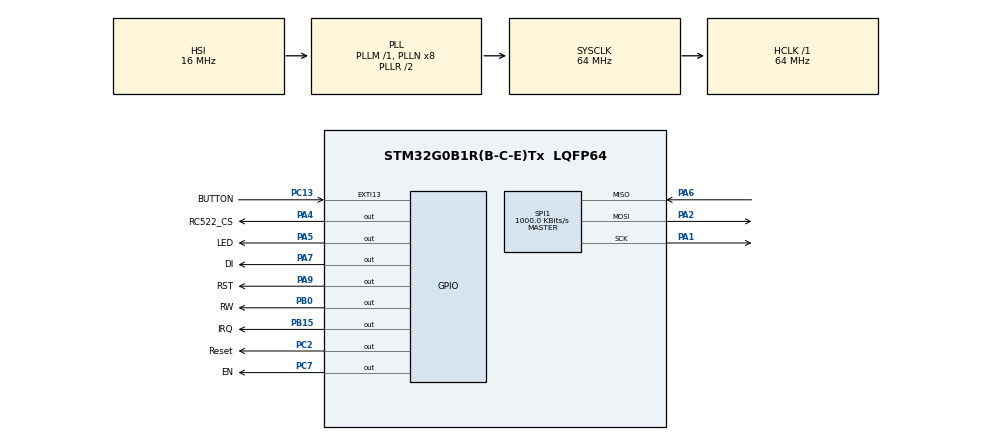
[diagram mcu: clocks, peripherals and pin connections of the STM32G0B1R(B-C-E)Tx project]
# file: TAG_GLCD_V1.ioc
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Mcu.Family=STM32G0
Mcu.Name=STM32G0B1R(B-C-E)Tx
Mcu.Package=LQFP64
NVIC.EXTI4_15_IRQn=true\:0\:0\:false\:false\:true\:true\:true
PA1.Mode=Full_Duplex_Master
PA1.Signal=SPI1_SCK
PA13.Mode=Serial_Wire
PA13.Signal=SYS_SWDIO
PA14-BOOT0.Mode=Serial_Wire
PA14-BOOT0.Signal=SYS_SWCLK
PA2.Mode=Full_Duplex_Master
PA2.Signal=SPI1_MOSI
PA4.GPIO_Label=RC522_CS
PA4.Signal=GPIO_Output
PA5.GPIO_Label=LED
PA5.Signal=GPIO_Output
PA6.Mode=Full_Duplex_Master
PA6.Signal=SPI1_MISO
PA7.GPIO_Label=DI
PA7.Signal=GPIO_Output
PA9.GPIO_Label=RST
PA9.Signal=GPIO_Output
PB0.GPIO_Label=RW
PB0.Signal=GPIO_Output
PB15.GPIO_Label=IRQ
PB15.Signal=GPIO_Output
PC13.GPIO_Label=BUTTON
PC13.GPIO_ModeDefaultEXTI=GPIO_MODE_IT_RISING_FALLING
PC13.Signal=GPXTI13
PC2.GPIO_Label=Reset
PC2.Signal=GPIO_Output
PC7.GPIO_Label=EN
PC7.Signal=GPIO_Output
PF0-OSC_IN\ (PF0).Mode=HSE-External-Oscillator
PF0-OSC_IN\ (PF0).Signal=RCC_OSC_IN
PF1-OSC_OUT\ (PF1).Mode=HSE-External-Oscillator
PF1-OSC_OUT\ (PF1).Signal=RCC_OSC_OUT
ProjectManager.HeapSize=0x200
ProjectManager.StackSize=0x400
ProjectManager.TargetToolchain=STM32CubeIDE
RCC.ADCFreq_Value=64000000
RCC.AHBFreq_Value=64000000
RCC.CortexFreq_Value=64000000
RCC.EXTERNAL_CLOCK_VALUE=48000
RCC.HCLKFreq_Value=64000000
RCC.HSE_VALUE=8000000
RCC.HSI48_VALUE=48000000
RCC.HSI_VALUE=16000000
RCC.LSE_VALUE=32768
RCC.SYSCLKFreq_VALUE=64000000
RCC.SYSCLKSource=RCC_SYSCLKSOURCE_PLLCLK
RCC.USBFreq_Value=48000000
RCC.VCOOutputFreq_Value=128000000
SPI1.BaudRatePrescaler=SPI_BAUDRATEPRESCALER_64
SPI1.CalculateBaudRate=1000.0 KBits/s
SPI1.Direction=SPI_DIRECTION_2LINES
SPI1.Mode=SPI_MODE_MASTER
SPI1.VirtualType=VM_MASTER
TIM1.Period=0xffff-1
TIM1.Prescaler=64-1
VP_SYS_VS_DBSignals.Mode=DisableDeadBatterySignals
VP_TIM1_VS_ClockSourceINT.Mode=Internal
board=custom

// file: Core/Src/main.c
/* USER CODE BEGIN Header */
/**
  ******************************************************************************
  * @file           : main.c
  * @brief          : Main program body
  ******************************************************************************
  * @attention
  *
  * Copyright (c) 2022 STMicroelectronics.
  * All rights reserved.
  *
  * This software is licensed under terms that can be found in the LICENSE file
  * in the root directory of this software component.
  * If no LICENSE file comes with this software, it is provided AS-IS.
  *
  ******************************************************************************
  */
/* USER CODE END Header */
#include "main.h"

/* USER CODE BEGIN Includes */
#include "ST7920_SERIAL.h"
#include "delay.h"
#include "bitmap.h"
#include "MFRC522.h"
#include "string.h"
/* USER CODE END Includes */

/* USER CODE BEGIN PD */
#define END_INICIAL 0x08006000 // Pag. 18 | Max (pag 63): 0x08018C00
/* USER CODE END PD */

SPI_HandleTypeDef hspi1;

TIM_HandleTypeDef htim1;

void SystemClock_Config(void);
static void MX_GPIO_Init(void);
static void MX_SPI1_Init(void);
static void MX_TIM1_Init(void);

/* USER CODE BEGIN 0 */
uint8_t status =144;
uint8_t str[5];
uint8_t cardstr[3];
uint8_t login[10][5];
uint8_t flagCadrst=0, qntsUser=0, flagGraph=0, ValorLeitura=0;

//Compara um vetor com a database de TAGS
uint8_t comparaTag(uint8_t *comp){
	uint8_t i = 0;

	for (uint8_t x = 0; x < 10; ++x) {
		while(comp[i] == login[x][i] && i < 5) {i++;}
	}
	if(i == 5){return 1;}
	return 0;
}

//Le a tag
void leTag(){
	  status = MFRC522_Request(PICC_REQIDL, cardstr);
	  if( status == 0){
		  status = MFRC522_Anticoll(str);
	  }
}

//Limpa a tag recebida
void limpaTag(uint8_t *a){
	for(int i=0; i < 5; i++){a[i] = 0x0;}
}

//Verifica o GraphicMode do GLCD
void verificaGMode(uint8_t mode){
	// GMODE 0
	if(mode == 0 && flagGraph == 1){
		flagGraph = 0;
		ST7920_Clear();
		ST7920_GraphicMode(0);
	}
	else if(mode == 0 && flagGraph == 0){
		flagGraph = 0;
		ST7920_Clear();
	}

	// GMODE 1
	else if(mode == 1 && flagGraph == 0){
		flagGraph = 1;
		ST7920_Clear();
		ST7920_GraphicMode(1);
	}
	else if(mode == 1 && flagGraph == 1){
		flagGraph = 1;
		return;
	}
}

void piscar(){
	ST7920_DrawBitmap(kawaideado_i);
}
void love(){
	ST7920_DrawBitmap(kawaideado_m_0);
	ST7920_DrawBitmap(kawaideado_m_1);
	ST7920_DrawBitmap(kawaideado_m_2);
	ST7920_DrawBitmap(kawaideado_m_3);
	ST7920_DrawBitmap(kawaideado_m_4);
}
void HAL_GPIO_EXTI_Falling_Callback(uint16_t GPIO_Pin){
	switch(flagCadrst){
	case 0:
		flagCadrst = 1;
		break;

	case 1:
		flagCadrst = 0;
		break;
	}
}

/* USER CODE END 0 */

int main(void)
{

  /* MCU Configuration--------------------------------------------------------*/

  /* Reset of all peripherals, Initializes the Flash interface and the Systick. */
  HAL_Init();

  /* Configure the system clock */
  SystemClock_Config();

  /* Initialize all configured peripherals */
  MX_GPIO_Init();
  MX_SPI1_Init();
  MX_TIM1_Init();
  /* USER CODE BEGIN 2 */
  //inicia
  delay_init();
  ST7920_Init();
  MFRC522_Init();

  ST7920_GraphicMode(1);

  ST7920_DrawBitmap(foto_mosfet);
  HAL_Delay(1000);
  status = Read_MFRC522(VersionReg);

  for (uint8_t x = 0; x < 10; ++x) {
	  for (uint8_t y = 0; y < 5; ++y) {
		  login[x][y] = 0xFF;
	  }
  }

  /* USER CODE END 2 */

  /* Infinite loop */
  /* USER CODE BEGIN WHILE */
  while (1)
  {
	  //importante
	  leTag();

	  //Ativa o modo cadastro
	  if(flagCadrst == 1){
		  verificaGMode(0);

		  //Enquanto o modo cadastro estiver ativado
		  while(flagCadrst == 1){
			  leTag();
			  ST7920_SendString(1, 2, "Cadastro!");
			  ST7920_SendString(2, 0, "Aproxime a TAG");

			  //Verifica se está lendo alguma coisa
			  if(str[0] != 0x00){
				  if(comparaTag(str) == 1){
					  verificaGMode(0);
					  ST7920_SendString(1, 2, "ERRO!");
					  ST7920_SendString(2, 0, "TAG CADASTRADA");
					  HAL_Delay(500);
				  }
				  else if(comparaTag(str) == 0){
					  for (uint8_t j = 0; j < 5; ++j) {
						  login[qntsUser][j] = str[j];
					  }
					  qntsUser++;

					  verificaGMode(1);
					  love();
					  flagCadrst = 0;
				  }
			  limpaTag(str);
			  }
		  }
	  }else {
		  verificaGMode(1);

		  while(flagCadrst == 0){
			  leTag();

			  if(str[0] != 0x00){
				  if(comparaTag(str) == 1){
					  piscar();
				  }
				  limpaTag(str);
			  }

			  ST7920_DrawBitmap(kawaideado_c);
		  }
	  }
    /* USER CODE END WHILE */

  }
}

void SystemClock_Config(void)
{
  RCC_OscInitTypeDef RCC_OscInitStruct = {0};
  RCC_ClkInitTypeDef RCC_ClkInitStruct = {0};

  /** Configure the main internal regulator output voltage
  */
  HAL_PWREx_ControlVoltageScaling(PWR_REGULATOR_VOLTAGE_SCALE1);
  /** Initializes the RCC Oscillators according to the specified parameters
  * in the RCC_OscInitTypeDef structure.
  */
  RCC_OscInitStruct.OscillatorType = RCC_OSCILLATORTYPE_HSI;
  RCC_OscInitStruct.HSIState = RCC_HSI_ON;
  RCC_OscInitStruct.HSIDiv = RCC_HSI_DIV1;
  RCC_OscInitStruct.HSICalibrationValue = RCC_HSICALIBRATION_DEFAULT;
  RCC_OscInitStruct.PLL.PLLState = RCC_PLL_ON;
  RCC_OscInitStruct.PLL.PLLSource = RCC_PLLSOURCE_HSI;
  RCC_OscInitStruct.PLL.PLLM = RCC_PLLM_DIV1;
  RCC_OscInitStruct.PLL.PLLN = 8;
  RCC_OscInitStruct.PLL.PLLP = RCC_PLLP_DIV2;
  RCC_OscInitStruct.PLL.PLLQ = RCC_PLLQ_DIV2;
  RCC_OscInitStruct.PLL.PLLR = RCC_PLLR_DIV2;
  if (HAL_RCC_OscConfig(&RCC_OscInitStruct) != HAL_OK)
  {
    Error_Handler();
  }
  /** Initializes the CPU, AHB and APB buses clocks
  */
  RCC_ClkInitStruct.ClockType = RCC_CLOCKTYPE_HCLK|RCC_CLOCKTYPE_SYSCLK
                              |RCC_CLOCKTYPE_PCLK1;
  RCC_ClkInitStruct.SYSCLKSource = RCC_SYSCLKSOURCE_PLLCLK;
  RCC_ClkInitStruct.AHBCLKDivider = RCC_SYSCLK_DIV1;
  RCC_ClkInitStruct.APB1CLKDivider = RCC_HCLK_DIV1;

  if (HAL_RCC_ClockConfig(&RCC_ClkInitStruct, FLASH_LATENCY_2) != HAL_OK)
  {
    Error_Handler();
  }
}

static void MX_SPI1_Init(void)
{

  /* SPI1 parameter configuration*/
  hspi1.Instance = SPI1;
  hspi1.Init.Mode = SPI_MODE_MASTER;
  hspi1.Init.Direction = SPI_DIRECTION_2LINES;
  hspi1.Init.DataSize = SPI_DATASIZE_8BIT;
  hspi1.Init.CLKPolarity = SPI_POLARITY_LOW;
  hspi1.Init.CLKPhase = SPI_PHASE_1EDGE;
  hspi1.Init.NSS = SPI_NSS_SOFT;
  hspi1.Init.BaudRatePrescaler = SPI_BAUDRATEPRESCALER_64;
  hspi1.Init.FirstBit = SPI_FIRSTBIT_MSB;
  hspi1.Init.TIMode = SPI_TIMODE_DISABLE;
  hspi1.Init.CRCCalculation = SPI_CRCCALCULATION_DISABLE;
  hspi1.Init.CRCPolynomial = 7;
  hspi1.Init.CRCLength = SPI_CRC_LENGTH_DATASIZE;
  hspi1.Init.NSSPMode = SPI_NSS_PULSE_ENABLE;
  if (HAL_SPI_Init(&hspi1) != HAL_OK)
  {
    Error_Handler();
  }

}

static void MX_TIM1_Init(void)
{

  TIM_ClockConfigTypeDef sClockSourceConfig = {0};
  TIM_MasterConfigTypeDef sMasterConfig = {0};

  htim1.Instance = TIM1;
  htim1.Init.Prescaler = 64-1;
  htim1.Init.CounterMode = TIM_COUNTERMODE_UP;
  htim1.Init.Period = 0xffff-1;
  htim1.Init.ClockDivision = TIM_CLOCKDIVISION_DIV1;
  htim1.Init.RepetitionCounter = 0;
  htim1.Init.AutoReloadPreload = TIM_AUTORELOAD_PRELOAD_DISABLE;
  if (HAL_TIM_Base_Init(&htim1) != HAL_OK)
  {
    Error_Handler();
  }
  sClockSourceConfig.ClockSource = TIM_CLOCKSOURCE_INTERNAL;
  if (HAL_TIM_ConfigClockSource(&htim1, &sClockSourceConfig) != HAL_OK)
  {
    Error_Handler();
  }
  sMasterConfig.MasterOutputTrigger = TIM_TRGO_RESET;
  sMasterConfig.MasterOutputTrigger2 = TIM_TRGO2_RESET;
  sMasterConfig.MasterSlaveMode = TIM_MASTERSLAVEMODE_DISABLE;
  if (HAL_TIMEx_MasterConfigSynchronization(&htim1, &sMasterConfig) != HAL_OK)
  {
    Error_Handler();
  }

}

static void MX_GPIO_Init(void)
{
  GPIO_InitTypeDef GPIO_InitStruct = {0};

  /* GPIO Ports Clock Enable */
  __HAL_RCC_GPIOC_CLK_ENABLE();
  __HAL_RCC_GPIOF_CLK_ENABLE();
  __HAL_RCC_GPIOA_CLK_ENABLE();
  __HAL_RCC_GPIOB_CLK_ENABLE();

  /*Configure GPIO pin Output Level */
  HAL_GPIO_WritePin(GPIOC, Reset_Pin|EN_Pin, GPIO_PIN_RESET);

  /*Configure GPIO pin Output Level */
  HAL_GPIO_WritePin(GPIOA, RC522_CS_Pin|LED_Pin|DI_Pin|RST_Pin, GPIO_PIN_RESET);

  /*Configure GPIO pin Output Level */
  HAL_GPIO_WritePin(GPIOB, RW_Pin|IRQ_Pin, GPIO_PIN_RESET);

  /*Configure GPIO pin : BUTTON_Pin */
  GPIO_InitStruct.Pin = BUTTON_Pin;
  GPIO_InitStruct.Mode = GPIO_MODE_IT_RISING_FALLING;
  GPIO_InitStruct.Pull = GPIO_NOPULL;
  HAL_GPIO_Init(BUTTON_GPIO_Port, &GPIO_InitStruct);

  /*Configure GPIO pins : Reset_Pin EN_Pin */
  GPIO_InitStruct.Pin = Reset_Pin|EN_Pin;
  GPIO_InitStruct.Mode = GPIO_MODE_OUTPUT_PP;
  GPIO_InitStruct.Pull = GPIO_NOPULL;
  GPIO_InitStruct.Speed = GPIO_SPEED_FREQ_LOW;
  HAL_GPIO_Init(GPIOC, &GPIO_InitStruct);

  /*Configure GPIO pins : RC522_CS_Pin LED_Pin DI_Pin RST_Pin */
  GPIO_InitStruct.Pin = RC522_CS_Pin|LED_Pin|DI_Pin|RST_Pin;
  GPIO_InitStruct.Mode = GPIO_MODE_OUTPUT_PP;
  GPIO_InitStruct.Pull = GPIO_NOPULL;
  GPIO_InitStruct.Speed = GPIO_SPEED_FREQ_LOW;
  HAL_GPIO_Init(GPIOA, &GPIO_InitStruct);

  /*Configure GPIO pins : RW_Pin IRQ_Pin */
  GPIO_InitStruct.Pin = RW_Pin|IRQ_Pin;
  GPIO_InitStruct.Mode = GPIO_MODE_OUTPUT_PP;
  GPIO_InitStruct.Pull = GPIO_NOPULL;
  GPIO_InitStruct.Speed = GPIO_SPEED_FREQ_LOW;
  HAL_GPIO_Init(GPIOB, &GPIO_InitStruct);

  /* EXTI interrupt init*/
  HAL_NVIC_SetPriority(EXTI4_15_IRQn, 0, 0);
  HAL_NVIC_EnableIRQ(EXTI4_15_IRQn);

}

void Error_Handler(void)
{
  __disable_irq();
  while (1)
  {
  }
}
